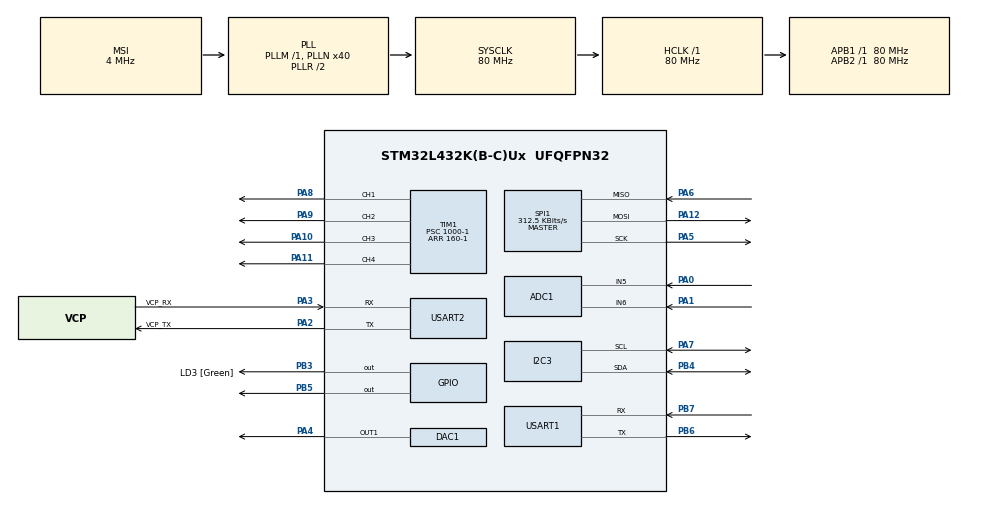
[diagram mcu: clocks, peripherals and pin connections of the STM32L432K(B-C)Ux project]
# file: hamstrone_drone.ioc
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ADC1.Channel-0\#ChannelRegularConversion=ADC_CHANNEL_5
ADC1.NbrOfConversionFlag=1
ADC1.OffsetNumber-0\#ChannelRegularConversion=ADC_OFFSET_NONE
ADC1.Rank-0\#ChannelRegularConversion=1
ADC1.SamplingTime-0\#ChannelRegularConversion=ADC_SAMPLETIME_2CYCLES_5
ADC1.master=1
FREERTOS.Tasks01=defaultTask,24,128,StartDefaultTask,Default,NULL,Dynamic,NULL,NULL
FREERTOS.configENABLE_FPU=1
FREERTOS.configUSE_NEWLIB_REENTRANT=1
FREERTOS.configUSE_POSIX_ERRNO=1
I2C3.Timing=0x10909CEC
Mcu.Family=STM32L4
Mcu.Name=STM32L432K(B-C)Ux
Mcu.Package=UFQFPN32
NVIC.PriorityGroup=NVIC_PRIORITYGROUP_4
NVIC.TIM1_UP_TIM16_IRQn=true\:15\:0\:false\:false\:true\:false\:false\:true
NVIC.TimeBase=TIM1_UP_TIM16_IRQn
NVIC.TimeBaseIP=TIM16
PA0.Signal=ADCx_IN5
PA1.Signal=ADCx_IN6
PA10.Signal=S_TIM1_CH3
PA11.Signal=S_TIM1_CH4
PA12.Mode=Full_Duplex_Master
PA12.Signal=SPI1_MOSI
PA13\ (JTMS-SWDIO).GPIO_Label=SWDIO
PA13\ (JTMS-SWDIO).Mode=Serial_Wire
PA13\ (JTMS-SWDIO).Signal=SYS_JTMS-SWDIO
PA14\ (JTCK-SWCLK).GPIO_Label=SWCLK
PA14\ (JTCK-SWCLK).Mode=Serial_Wire
PA14\ (JTCK-SWCLK).Signal=SYS_JTCK-SWCLK
PA2.GPIO_Label=VCP_TX
PA2.Mode=Asynchronous
PA2.Signal=USART2_TX
PA3.GPIO_Label=VCP_RX
PA3.Mode=Asynchronous
PA3.Signal=USART2_RX
PA4.Signal=COMP_DAC11_group
PA5.Mode=Full_Duplex_Master
PA5.Signal=SPI1_SCK
PA6.Mode=Full_Duplex_Master
PA6.Signal=SPI1_MISO
PA7.Mode=I2C
PA7.Signal=I2C3_SCL
PA8.Signal=S_TIM1_CH1
PA9.Signal=S_TIM1_CH2
PB3\ (JTDO-TRACESWO).GPIO_Label=LD3 [Green]
PB3\ (JTDO-TRACESWO).Signal=GPIO_Output
PB4\ (NJTRST).Mode=I2C
PB4\ (NJTRST).Signal=I2C3_SDA
PB5.GPIO_ModeDefaultOutputPP=GPIO_MODE_OUTPUT_PP
PB5.GPIO_PuPd=GPIO_NOPULL
PB5.GPIO_Speed=GPIO_SPEED_FREQ_HIGH
PB5.PinState=GPIO_PIN_SET
PB5.Signal=GPIO_Output
PB6.Mode=Asynchronous
PB6.Signal=USART1_TX
PB7.Mode=Asynchronous
PB7.Signal=USART1_RX
PC14-OSC32_IN\ (PC14).Mode=LSE-External-Oscillator
PC14-OSC32_IN\ (PC14).Signal=RCC_OSC32_IN
PC15-OSC32_OUT\ (PC15).Mode=LSE-External-Oscillator
PC15-OSC32_OUT\ (PC15).Signal=RCC_OSC32_OUT
ProjectManager.HeapSize=0x200
ProjectManager.StackSize=0x400
ProjectManager.TargetToolchain=STM32CubeIDE
RCC.ADCFreq_Value=32000000
RCC.AHBFreq_Value=80000000
RCC.APB1Freq_Value=80000000
RCC.APB1TimFreq_Value=80000000
RCC.APB2Freq_Value=80000000
RCC.APB2TimFreq_Value=80000000
RCC.CortexFreq_Value=80000000
RCC.HCLKFreq_Value=80000000
RCC.HSE_VALUE=8000000
RCC.HSI16_VALUE=16000000
RCC.HSI48_VALUE=48000000
RCC.HSI_VALUE=16000000
RCC.MSI_VALUE=4000000
RCC.PLLMUL=RCC_PLLMUL_4
RCC.PLLN=40
RCC.PLLSAI1N=16
RCC.SYSCLKFreq_VALUE=80000000
RCC.SYSCLKSource=RCC_SYSCLKSOURCE_PLLCLK
RCC.USBFreq_Value=32000000
RCC.VCOOutputFreq_Value=160000000
SH.ADCx_IN5.0=ADC1_IN5,IN5-Single-Ended
SH.ADCx_IN6.0=ADC1_IN6,IN6-Single-Ended
SH.COMP_DAC11_group.0=DAC1_OUT1,DAC_OUT1
SH.S_TIM1_CH1.0=TIM1_CH1,PWM Generation1 CH1
SH.S_TIM1_CH2.0=TIM1_CH2,PWM Generation2 CH2
SH.S_TIM1_CH3.0=TIM1_CH3,PWM Generation3 CH3
SH.S_TIM1_CH4.0=TIM1_CH4,PWM Generation4 CH4
SPI1.BaudRatePrescaler=SPI_BAUDRATEPRESCALER_256
SPI1.CLKPhase=SPI_PHASE_2EDGE
SPI1.CLKPolarity=SPI_POLARITY_HIGH
SPI1.CalculateBaudRate=312.5 KBits/s
SPI1.DataSize=SPI_DATASIZE_8BIT
SPI1.Direction=SPI_DIRECTION_2LINES
SPI1.Mode=SPI_MODE_MASTER
SPI1.VirtualType=VM_MASTER
TIM1.Channel-PWM\ Generation1\ CH1=TIM_CHANNEL_1
TIM1.Channel-PWM\ Generation2\ CH2=TIM_CHANNEL_2
TIM1.Channel-PWM\ Generation3\ CH3=TIM_CHANNEL_3
TIM1.Channel-PWM\ Generation4\ CH4=TIM_CHANNEL_4
TIM1.Period=160-1
TIM1.Prescaler=1000-1
USART1.VirtualMode-Asynchronous=VM_ASYNC
USART2.VirtualMode-Asynchronous=VM_ASYNC
VP_FREERTOS_VS_CMSIS_V2.Mode=CMSIS_V2
VP_SYS_VS_tim16.Mode=TIM16
VP_TIM1_VS_ClockSourceINT.Mode=Internal
board=NUCLEO-L432KC

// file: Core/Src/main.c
/* USER CODE BEGIN Header */
/**
 ******************************************************************************
 * @file           : main.c
 * @brief          : Main program body
 ******************************************************************************
 * @attention
 *
 * Copyright (c) 2021 STMicroelectronics.
 * All rights reserved.
 *
 * This software is licensed under terms that can be found in the LICENSE file
 * in the root directory of this software component.
 * If no LICENSE file comes with this software, it is provided AS-IS.
 *
 ******************************************************************************
 */
/* USER CODE END Header */
#include "main.h"
#include "cmsis_os.h"

 ADC_HandleTypeDef hadc1;

DAC_HandleTypeDef hdac1;

I2C_HandleTypeDef hi2c3;

SPI_HandleTypeDef hspi1;

TIM_HandleTypeDef htim1;

UART_HandleTypeDef huart1;
UART_HandleTypeDef huart2;
DMA_HandleTypeDef hdma_usart1_rx;
DMA_HandleTypeDef hdma_usart2_rx;

/* Definitions for defaultTask */
osThreadId_t defaultTaskHandle;
const osThreadAttr_t defaultTask_attributes = {
  .name = "defaultTask",
  .stack_size = 128 * 4,
  .priority = (osPriority_t) osPriorityNormal,
};
/* USER CODE BEGIN PV */
HAMSTERTONGUE_SEMAPHORE_TYPE HAMSTRONE_GLOBAL_TELEMETRY_SEMAPHORE;
HAMSTERTONGUE_HANDLE_TYPE *HAMSTRONE_GLOBAL_TELEMETRY_PORT;
HAMSTERTONGUE_HANDLE_TYPE *HAMSTRONE_GLOBAL_SERIAL_PORT;
HAMSTRONE_I2C_HANDLE_TYPE *HAMSTRONE_GLOBAL_I2C_PORT;
HAMSTRONE_SPI_HANDLE_TYPE *HAMSTRONE_GLOBAL_SPI_PORT;
HAMSTRONE_TIM_HANDLE_TYPE *HAMSTRONE_GLOBAL_MOTOR_PWM;
/* USER CODE END PV */

void SystemClock_Config(void);
static void MX_GPIO_Init(void);
static void MX_USART2_UART_Init(void);
static void MX_ADC1_Init(void);
static void MX_DAC1_Init(void);
static void MX_I2C3_Init(void);
static void MX_SPI1_Init(void);
static void MX_DMA_Init(void);
static void MX_USART1_UART_Init(void);
static void MX_TIM1_Init(void);
void StartDefaultTask(void *argument);

int main(void)
{

  /* MCU Configuration--------------------------------------------------------*/

  /* Reset of all peripherals, Initializes the Flash interface and the Systick. */
  HAL_Init();

  /* Configure the system clock */
  SystemClock_Config();

  /* Initialize all configured peripherals */
  MX_GPIO_Init();
  MX_USART2_UART_Init();
  MX_ADC1_Init();
  MX_DAC1_Init();
  MX_I2C3_Init();
  MX_SPI1_Init();
  MX_DMA_Init();
  MX_USART1_UART_Init();
  MX_TIM1_Init();
  /* USER CODE BEGIN 2 */
  HAMSTRONE_InitValueStore(HAMSTRONE_CONFIG_VALUE_SIZE);
  HAMSTRONE_GLOBAL_TELEMETRY_PORT = &huart2;
  HAMSTRONE_GLOBAL_SERIAL_PORT = &huart1;
  HAMSTRONE_GLOBAL_I2C_PORT = &hi2c3;
  HAMSTRONE_GLOBAL_SPI_PORT = &hspi1;
  HAMSTRONE_GLOBAL_MOTOR_PWM = &htim1;
  HAMSTERTONGUE_SetDefaultFile(HAMSTRONE_GLOBAL_TELEMETRY_PORT);

  /* USER CODE END 2 */

  /* Init scheduler */
  osKernelInitialize();

  /* USER CODE BEGIN RTOS_SEMAPHORES */
  HAMSTRONE_GLOBAL_TELEMETRY_SEMAPHORE = osSemaphoreNew(1U, 1U, NULL);
  if (HAMSTRONE_GLOBAL_TELEMETRY_SEMAPHORE != NULL) {
	  HAMSTERTONGUE_SetWriteSemaphore(HAMSTRONE_GLOBAL_TELEMETRY_SEMAPHORE);
  }
  /* USER CODE END RTOS_SEMAPHORES */

  /* Create the thread(s) */
  /* creation of defaultTask */
  defaultTaskHandle = osThreadNew(StartDefaultTask, NULL, &defaultTask_attributes);

  /* USER CODE BEGIN RTOS_THREADS */
  const osThreadAttr_t tskTransmitValueAttr = {
    .stack_size = 1024,
	.priority = osPriorityHigh

  };
  osThreadNew(tskTransmitValue, NULL, &tskTransmitValueAttr);

  const osThreadAttr_t tskUpdateValueAttr = {
    .stack_size = 1024,
	.priority = osPriorityRealtime
  };
  osThreadNew(tskUpdateValue, NULL, &tskUpdateValueAttr);

  const osThreadAttr_t tskInferenceAttr = {
    .stack_size = 2048
  };
  //osThreadNew(tskInference, NULL, &tskInferenceAttr);
  /* USER CODE END RTOS_THREADS */

  /* Start scheduler */
  osKernelStart();

  /* We should never get here as control is now taken by the scheduler */
  /* Infinite loop */
	while (1) {

	}
}

void SystemClock_Config(void)
{
  RCC_OscInitTypeDef RCC_OscInitStruct = {0};
  RCC_ClkInitTypeDef RCC_ClkInitStruct = {0};

  /** Configure the main internal regulator output voltage
  */
  if (HAL_PWREx_ControlVoltageScaling(PWR_REGULATOR_VOLTAGE_SCALE1) != HAL_OK)
  {
    Error_Handler();
  }

  /** Configure LSE Drive Capability
  */
  HAL_PWR_EnableBkUpAccess();
  __HAL_RCC_LSEDRIVE_CONFIG(RCC_LSEDRIVE_LOW);

  /** Initializes the RCC Oscillators according to the specified parameters
  * in the RCC_OscInitTypeDef structure.
  */
  RCC_OscInitStruct.OscillatorType = RCC_OSCILLATORTYPE_LSE|RCC_OSCILLATORTYPE_MSI;
  RCC_OscInitStruct.LSEState = RCC_LSE_ON;
  RCC_OscInitStruct.MSIState = RCC_MSI_ON;
  RCC_OscInitStruct.MSICalibrationValue = 0;
  RCC_OscInitStruct.MSIClockRange = RCC_MSIRANGE_6;
  RCC_OscInitStruct.PLL.PLLState = RCC_PLL_ON;
  RCC_OscInitStruct.PLL.PLLSource = RCC_PLLSOURCE_MSI;
  RCC_OscInitStruct.PLL.PLLM = 1;
  RCC_OscInitStruct.PLL.PLLN = 40;
  RCC_OscInitStruct.PLL.PLLP = RCC_PLLP_DIV7;
  RCC_OscInitStruct.PLL.PLLQ = RCC_PLLQ_DIV2;
  RCC_OscInitStruct.PLL.PLLR = RCC_PLLR_DIV2;
  if (HAL_RCC_OscConfig(&RCC_OscInitStruct) != HAL_OK)
  {
    Error_Handler();
  }

  /** Initializes the CPU, AHB and APB buses clocks
  */
  RCC_ClkInitStruct.ClockType = RCC_CLOCKTYPE_HCLK|RCC_CLOCKTYPE_SYSCLK
                              |RCC_CLOCKTYPE_PCLK1|RCC_CLOCKTYPE_PCLK2;
  RCC_ClkInitStruct.SYSCLKSource = RCC_SYSCLKSOURCE_PLLCLK;
  RCC_ClkInitStruct.AHBCLKDivider = RCC_SYSCLK_DIV1;
  RCC_ClkInitStruct.APB1CLKDivider = RCC_HCLK_DIV1;
  RCC_ClkInitStruct.APB2CLKDivider = RCC_HCLK_DIV1;

  if (HAL_RCC_ClockConfig(&RCC_ClkInitStruct, FLASH_LATENCY_4) != HAL_OK)
  {
    Error_Handler();
  }

  /** Enable MSI Auto calibration
  */
  HAL_RCCEx_EnableMSIPLLMode();
}

static void MX_ADC1_Init(void)
{

  ADC_ChannelConfTypeDef sConfig = {0};

  /** Common config
  */
  hadc1.Instance = ADC1;
  hadc1.Init.ClockPrescaler = ADC_CLOCK_ASYNC_DIV1;
  hadc1.Init.Resolution = ADC_RESOLUTION_12B;
  hadc1.Init.DataAlign = ADC_DATAALIGN_RIGHT;
  hadc1.Init.ScanConvMode = ADC_SCAN_DISABLE;
  hadc1.Init.EOCSelection = ADC_EOC_SINGLE_CONV;
  hadc1.Init.LowPowerAutoWait = DISABLE;
  hadc1.Init.ContinuousConvMode = DISABLE;
  hadc1.Init.NbrOfConversion = 1;
  hadc1.Init.DiscontinuousConvMode = DISABLE;
  hadc1.Init.ExternalTrigConv = ADC_SOFTWARE_START;
  hadc1.Init.ExternalTrigConvEdge = ADC_EXTERNALTRIGCONVEDGE_NONE;
  hadc1.Init.DMAContinuousRequests = DISABLE;
  hadc1.Init.Overrun = ADC_OVR_DATA_PRESERVED;
  hadc1.Init.OversamplingMode = DISABLE;
  if (HAL_ADC_Init(&hadc1) != HAL_OK)
  {
    Error_Handler();
  }

  /** Configure Regular Channel
  */
  sConfig.Channel = ADC_CHANNEL_5;
  sConfig.Rank = ADC_REGULAR_RANK_1;
  sConfig.SamplingTime = ADC_SAMPLETIME_2CYCLES_5;
  sConfig.SingleDiff = ADC_SINGLE_ENDED;
  sConfig.OffsetNumber = ADC_OFFSET_NONE;
  sConfig.Offset = 0;
  if (HAL_ADC_ConfigChannel(&hadc1, &sConfig) != HAL_OK)
  {
    Error_Handler();
  }

}

static void MX_DAC1_Init(void)
{

  DAC_ChannelConfTypeDef sConfig = {0};

  /** DAC Initialization
  */
  hdac1.Instance = DAC1;
  if (HAL_DAC_Init(&hdac1) != HAL_OK)
  {
    Error_Handler();
  }

  /** DAC channel OUT1 config
  */
  sConfig.DAC_SampleAndHold = DAC_SAMPLEANDHOLD_DISABLE;
  sConfig.DAC_Trigger = DAC_TRIGGER_NONE;
  sConfig.DAC_OutputBuffer = DAC_OUTPUTBUFFER_ENABLE;
  sConfig.DAC_ConnectOnChipPeripheral = DAC_CHIPCONNECT_DISABLE;
  sConfig.DAC_UserTrimming = DAC_TRIMMING_FACTORY;
  if (HAL_DAC_ConfigChannel(&hdac1, &sConfig, DAC_CHANNEL_1) != HAL_OK)
  {
    Error_Handler();
  }

}

static void MX_I2C3_Init(void)
{

  hi2c3.Instance = I2C3;
  hi2c3.Init.Timing = 0x10909CEC;
  hi2c3.Init.OwnAddress1 = 0;
  hi2c3.Init.AddressingMode = I2C_ADDRESSINGMODE_7BIT;
  hi2c3.Init.DualAddressMode = I2C_DUALADDRESS_DISABLE;
  hi2c3.Init.OwnAddress2 = 0;
  hi2c3.Init.OwnAddress2Masks = I2C_OA2_NOMASK;
  hi2c3.Init.GeneralCallMode = I2C_GENERALCALL_DISABLE;
  hi2c3.Init.NoStretchMode = I2C_NOSTRETCH_DISABLE;
  if (HAL_I2C_Init(&hi2c3) != HAL_OK)
  {
    Error_Handler();
  }

  /** Configure Analogue filter
  */
  if (HAL_I2CEx_ConfigAnalogFilter(&hi2c3, I2C_ANALOGFILTER_ENABLE) != HAL_OK)
  {
    Error_Handler();
  }

  /** Configure Digital filter
  */
  if (HAL_I2CEx_ConfigDigitalFilter(&hi2c3, 0) != HAL_OK)
  {
    Error_Handler();
  }

}

static void MX_SPI1_Init(void)
{

  /* SPI1 parameter configuration*/
  hspi1.Instance = SPI1;
  hspi1.Init.Mode = SPI_MODE_MASTER;
  hspi1.Init.Direction = SPI_DIRECTION_2LINES;
  hspi1.Init.DataSize = SPI_DATASIZE_8BIT;
  hspi1.Init.CLKPolarity = SPI_POLARITY_HIGH;
  hspi1.Init.CLKPhase = SPI_PHASE_2EDGE;
  hspi1.Init.NSS = SPI_NSS_SOFT;
  hspi1.Init.BaudRatePrescaler = SPI_BAUDRATEPRESCALER_256;
  hspi1.Init.FirstBit = SPI_FIRSTBIT_MSB;
  hspi1.Init.TIMode = SPI_TIMODE_DISABLE;
  hspi1.Init.CRCCalculation = SPI_CRCCALCULATION_DISABLE;
  hspi1.Init.CRCPolynomial = 7;
  hspi1.Init.CRCLength = SPI_CRC_LENGTH_DATASIZE;
  hspi1.Init.NSSPMode = SPI_NSS_PULSE_DISABLE;
  if (HAL_SPI_Init(&hspi1) != HAL_OK)
  {
    Error_Handler();
  }

}

static void MX_TIM1_Init(void)
{

  TIM_ClockConfigTypeDef sClockSourceConfig = {0};
  TIM_MasterConfigTypeDef sMasterConfig = {0};
  TIM_OC_InitTypeDef sConfigOC = {0};
  TIM_BreakDeadTimeConfigTypeDef sBreakDeadTimeConfig = {0};

  htim1.Instance = TIM1;
  htim1.Init.Prescaler = 1000-1;
  htim1.Init.CounterMode = TIM_COUNTERMODE_UP;
  htim1.Init.Period = 160-1;
  htim1.Init.ClockDivision = TIM_CLOCKDIVISION_DIV1;
  htim1.Init.RepetitionCounter = 0;
  htim1.Init.AutoReloadPreload = TIM_AUTORELOAD_PRELOAD_DISABLE;
  if (HAL_TIM_Base_Init(&htim1) != HAL_OK)
  {
    Error_Handler();
  }
  sClockSourceConfig.ClockSource = TIM_CLOCKSOURCE_INTERNAL;
  if (HAL_TIM_ConfigClockSource(&htim1, &sClockSourceConfig) != HAL_OK)
  {
    Error_Handler();
  }
  if (HAL_TIM_PWM_Init(&htim1) != HAL_OK)
  {
    Error_Handler();
  }
  sMasterConfig.MasterOutputTrigger = TIM_TRGO_RESET;
  sMasterConfig.MasterOutputTrigger2 = TIM_TRGO2_RESET;
  sMasterConfig.MasterSlaveMode = TIM_MASTERSLAVEMODE_DISABLE;
  if (HAL_TIMEx_MasterConfigSynchronization(&htim1, &sMasterConfig) != HAL_OK)
  {
    Error_Handler();
  }
  sConfigOC.OCMode = TIM_OCMODE_PWM1;
  sConfigOC.Pulse = 0;
  sConfigOC.OCPolarity = TIM_OCPOLARITY_HIGH;
  sConfigOC.OCNPolarity = TIM_OCNPOLARITY_HIGH;
  sConfigOC.OCFastMode = TIM_OCFAST_DISABLE;
  sConfigOC.OCIdleState = TIM_OCIDLESTATE_RESET;
  sConfigOC.OCNIdleState = TIM_OCNIDLESTATE_RESET;
  if (HAL_TIM_PWM_ConfigChannel(&htim1, &sConfigOC, TIM_CHANNEL_1) != HAL_OK)
  {
    Error_Handler();
  }
  if (HAL_TIM_PWM_ConfigChannel(&htim1, &sConfigOC, TIM_CHANNEL_2) != HAL_OK)
  {
    Error_Handler();
  }
  if (HAL_TIM_PWM_ConfigChannel(&htim1, &sConfigOC, TIM_CHANNEL_3) != HAL_OK)
  {
    Error_Handler();
  }
  if (HAL_TIM_PWM_ConfigChannel(&htim1, &sConfigOC, TIM_CHANNEL_4) != HAL_OK)
  {
    Error_Handler();
  }
  sBreakDeadTimeConfig.OffStateRunMode = TIM_OSSR_DISABLE;
  sBreakDeadTimeConfig.OffStateIDLEMode = TIM_OSSI_DISABLE;
  sBreakDeadTimeConfig.LockLevel = TIM_LOCKLEVEL_OFF;
  sBreakDeadTimeConfig.DeadTime = 0;
  sBreakDeadTimeConfig.BreakState = TIM_BREAK_DISABLE;
  sBreakDeadTimeConfig.BreakPolarity = TIM_BREAKPOLARITY_HIGH;
  sBreakDeadTimeConfig.BreakFilter = 0;
  sBreakDeadTimeConfig.Break2State = TIM_BREAK2_DISABLE;
  sBreakDeadTimeConfig.Break2Polarity = TIM_BREAK2POLARITY_HIGH;
  sBreakDeadTimeConfig.Break2Filter = 0;
  sBreakDeadTimeConfig.AutomaticOutput = TIM_AUTOMATICOUTPUT_DISABLE;
  if (HAL_TIMEx_ConfigBreakDeadTime(&htim1, &sBreakDeadTimeConfig) != HAL_OK)
  {
    Error_Handler();
  }
  HAL_TIM_MspPostInit(&htim1);

}

static void MX_USART1_UART_Init(void)
{

  huart1.Instance = USART1;
  huart1.Init.BaudRate = 115200;
  huart1.Init.WordLength = UART_WORDLENGTH_8B;
  huart1.Init.StopBits = UART_STOPBITS_1;
  huart1.Init.Parity = UART_PARITY_NONE;
  huart1.Init.Mode = UART_MODE_TX_RX;
  huart1.Init.HwFlowCtl = UART_HWCONTROL_NONE;
  huart1.Init.OverSampling = UART_OVERSAMPLING_16;
  huart1.Init.OneBitSampling = UART_ONE_BIT_SAMPLE_DISABLE;
  huart1.AdvancedInit.AdvFeatureInit = UART_ADVFEATURE_NO_INIT;
  if (HAL_UART_Init(&huart1) != HAL_OK)
  {
    Error_Handler();
  }

}

static void MX_USART2_UART_Init(void)
{

  huart2.Instance = USART2;
  huart2.Init.BaudRate = 115200;
  huart2.Init.WordLength = UART_WORDLENGTH_8B;
  huart2.Init.StopBits = UART_STOPBITS_1;
  huart2.Init.Parity = UART_PARITY_NONE;
  huart2.Init.Mode = UART_MODE_TX_RX;
  huart2.Init.HwFlowCtl = UART_HWCONTROL_NONE;
  huart2.Init.OverSampling = UART_OVERSAMPLING_16;
  huart2.Init.OneBitSampling = UART_ONE_BIT_SAMPLE_DISABLE;
  huart2.AdvancedInit.AdvFeatureInit = UART_ADVFEATURE_NO_INIT;
  if (HAL_UART_Init(&huart2) != HAL_OK)
  {
    Error_Handler();
  }

}

static void MX_DMA_Init(void)
{

  /* DMA controller clock enable */
  __HAL_RCC_DMA1_CLK_ENABLE();

  /* DMA interrupt init */
  /* DMA1_Channel5_IRQn interrupt configuration */
  HAL_NVIC_SetPriority(DMA1_Channel5_IRQn, 5, 0);
  HAL_NVIC_EnableIRQ(DMA1_Channel5_IRQn);
  /* DMA1_Channel6_IRQn interrupt configuration */
  HAL_NVIC_SetPriority(DMA1_Channel6_IRQn, 5, 0);
  HAL_NVIC_EnableIRQ(DMA1_Channel6_IRQn);

}

static void MX_GPIO_Init(void)
{
  GPIO_InitTypeDef GPIO_InitStruct = {0};

  /* GPIO Ports Clock Enable */
  __HAL_RCC_GPIOC_CLK_ENABLE();
  __HAL_RCC_GPIOA_CLK_ENABLE();
  __HAL_RCC_GPIOB_CLK_ENABLE();

  /*Configure GPIO pin Output Level */
  HAL_GPIO_WritePin(LD3_GPIO_Port, LD3_Pin, GPIO_PIN_RESET);

  /*Configure GPIO pin Output Level */
  HAL_GPIO_WritePin(GPIOB, GPIO_PIN_5, GPIO_PIN_SET);

  /*Configure GPIO pin : LD3_Pin */
  GPIO_InitStruct.Pin = LD3_Pin;
  GPIO_InitStruct.Mode = GPIO_MODE_OUTPUT_PP;
  GPIO_InitStruct.Pull = GPIO_NOPULL;
  GPIO_InitStruct.Speed = GPIO_SPEED_FREQ_LOW;
  HAL_GPIO_Init(LD3_GPIO_Port, &GPIO_InitStruct);

  /*Configure GPIO pin : PB5 */
  GPIO_InitStruct.Pin = GPIO_PIN_5;
  GPIO_InitStruct.Mode = GPIO_MODE_OUTPUT_PP;
  GPIO_InitStruct.Pull = GPIO_NOPULL;
  GPIO_InitStruct.Speed = GPIO_SPEED_FREQ_HIGH;
  HAL_GPIO_Init(GPIOB, &GPIO_InitStruct);

}

void StartDefaultTask(void *argument)
{
  for(;;)
  {
    osDelay(1);
  }
}

void HAL_TIM_PeriodElapsedCallback(TIM_HandleTypeDef *htim)
{
  if (htim->Instance == TIM16) {
    HAL_IncTick();
  }
}

void Error_Handler(void)
{
	__disable_irq();
	while (1) {
	}
}
